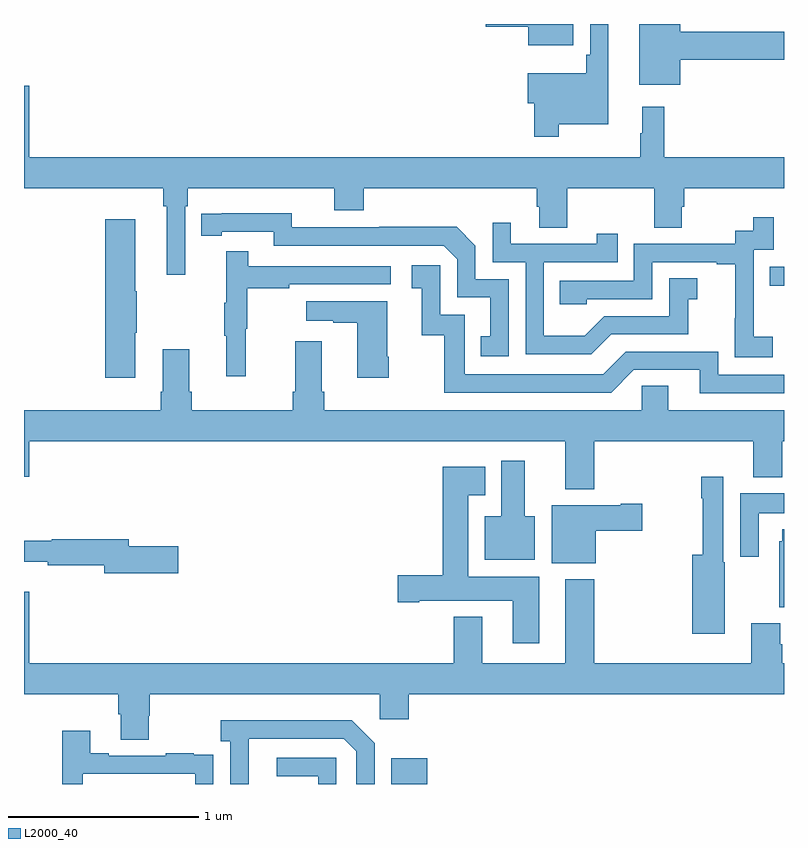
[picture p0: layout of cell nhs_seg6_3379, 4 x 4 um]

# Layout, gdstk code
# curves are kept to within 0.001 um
import gdstk
lib = gdstk.Library(unit=1e-6, precision=1e-09)
def R(c, l, rs):  # rectangles x0, y0, x1, y1
    for r in rs: c.add(gdstk.rectangle(r[:2], r[2:], *l))
def P(c, l, *ps):  # polygons
    for p in ps: c.add(gdstk.Polygon(p, *l))
L2000_40 = (2000, 40)

nhs_seg6_3379 = lib.new_cell('nhs_seg6_3379')
R(nhs_seg6_3379, L2000_40, [(310.934,977.5,311.122,977.635), (312.925,980.122,313,980.223)])
P(nhs_seg6_3379, L2000_40, [(311.815,980.972),(312.076,980.972),(312.076,981.5),(311.979,981.5),(311.979,981.337),(311.959,981.337),(311.959,981.241),(311.652,981.241),(311.652,981.083),(311.686,981.083),(311.686,980.907),(311.815,980.907)],
  [(311.89,981.5),(311.43,981.5),(311.43,981.485),(311.654,981.485),(311.654,981.389),(311.89,981.389)],
  [(312.454,981.311),(313,981.311),(313,981.458),(312.454,981.458),(312.454,981.5),(312.239,981.5),(312.239,981.179),(312.454,981.179)],
  [(309.849,980.54),(309.863,980.54),(309.863,980.636),(310.634,980.636),(310.634,980.519),(310.787,980.519),(310.787,980.636),(311.699,980.636),(311.699,980.538),(311.711,980.538),(311.711,980.428),(311.859,980.428),(311.859,980.636),(312.316,980.636),(312.316,980.428),(312.463,980.428),(312.463,980.538),(312.476,980.538),(312.476,980.636),(313,980.636),(313,980.8),(312.371,980.8),(312.371,981.064),(312.254,981.064),(312.254,980.924),(312.243,980.924),(312.243,980.8),(309.028,980.8),(309.028,981.175),(309,981.175),(309,980.636),(309.733,980.636),(309.733,980.54),(309.752,980.54),(309.752,980.181),(309.849,980.181)],
  [(311.55,980.157),(311.376,980.157),(311.376,980.334),(311.278,980.432),(310.87,980.432),(310.87,980.43),(310.41,980.43),(310.41,980.503),(309.934,980.502),(309.934,980.386),(310.042,980.386),(310.042,980.406),(310.314,980.406),(310.314,980.334),(311.208,980.334),(311.28,980.262),(311.28,980.061),(311.453,980.061),(311.453,979.857),(311.404,979.857),(311.404,979.752),(311.55,979.752)],
  [(312.94,979.855),(312.842,979.855),(312.842,980.084),(312.84,980.084),(312.84,980.313),(312.945,980.313),(312.945,980.482),(312.837,980.482),(312.837,980.412),(312.744,980.412),(312.744,980.343),(312.21,980.343),(312.21,980.148),(311.821,980.148),(311.821,980.025),(311.961,980.025),(311.961,980.052),(312.306,980.052),(312.306,980.247),(312.647,980.247),(312.647,980.235),(312.743,980.235),(312.743,979.951),(312.742,979.951),(312.742,979.745),(312.94,979.745)],
  [(309.586,979.876),(309.594,979.876),(309.594,980.093),(309.586,980.093),(309.586,980.473),(309.428,980.473),(309.428,979.638),(309.586,979.638)],
  [(312.091,979.866),(312.495,979.866),(312.495,980.051),(312.544,980.051),(312.544,980.161),(312.396,980.161),(312.396,979.962),(312.054,979.962),(311.95,979.858),(311.736,979.858),(311.736,980.247),(312.125,980.247),(312.125,980.395),(312.014,980.395),(312.014,980.343),(311.563,980.343),(311.563,980.455),(311.466,980.455),(311.466,980.247),(311.64,980.247),(311.64,979.761),(311.986,979.761)],
  [(310.166,979.896),(310.174,979.896),(310.174,980.11),(310.397,980.11),(310.397,980.13),(310.93,980.13),(310.93,980.226),(310.181,980.226),(310.181,980.305),(310.064,980.305),(310.064,980.033),(310.053,980.033),(310.053,979.859),(310.064,979.859),(310.064,979.647),(310.166,979.647)],
  [(313,979.653),(312.654,979.653),(312.654,979.776),(312.168,979.776),(312.048,979.656),(311.319,979.656),(311.319,979.971),(311.19,979.971),(311.19,980.23),(311.04,980.23),(311.04,980.109),(311.093,980.109),(311.093,979.863),(311.211,979.863),(311.211,979.56),(312.09,979.56),(312.21,979.68),(312.557,979.68),(312.557,979.557),(313,979.557)],
  [(310.92,979.75),(310.912,979.75),(310.912,980.041),(310.485,980.041),(310.485,979.937),(310.628,979.937),(310.628,979.927),(310.754,979.927),(310.754,979.638),(310.92,979.638)],
  [(312.002,979.304),(312.839,979.304),(312.839,979.115),(312.992,979.115),(312.992,979.304),(313,979.304),(313,979.468),(312.391,979.468),(312.391,979.595),(312.252,979.595),(312.252,979.468),(310.58,979.468),(310.58,979.564),(310.567,979.564),(310.567,979.831),(310.427,979.831),(310.427,979.564),(310.415,979.564),(310.415,979.468),(309.884,979.468),(309.884,979.564),(309.871,979.564),(309.871,979.789),(309.731,979.789),(309.731,979.564),(309.719,979.564),(309.719,979.468),(309,979.468),(309,979.116),(309.028,979.116),(309.028,979.304),(311.849,979.304),(311.849,979.052),(312.002,979.052)],
  [(311.689,978.91),(311.635,978.91),(311.635,979.201),(311.513,979.201),(311.513,978.91),(311.426,978.91),(311.426,978.68),(311.689,978.68)],
  [(311.713,978.592),(311.338,978.592),(311.338,979.019),(311.428,979.019),(311.428,979.171),(311.204,979.171),(311.204,978.599),(310.968,978.599),(310.968,978.457),(311.08,978.457),(311.08,978.464),(311.573,978.464),(311.573,978.24),(311.713,978.24)],
  [(312.688,978.666),(312.681,978.666),(312.681,979.117),(312.565,979.117),(312.565,979.004),(312.573,979.004),(312.573,978.706),(312.518,978.706),(312.518,978.29),(312.688,978.29)],
  [(312.867,978.926),(313,978.926),(313,979.03),(312.771,979.03),(312.771,978.696),(312.867,978.696)],
  [(312.01,978.833),(312.253,978.833),(312.253,978.975),(312.14,978.975),(312.14,978.967),(311.777,978.967),(311.777,978.662),(312.01,978.662)],
  [(313,978.841),(312.992,978.841),(312.992,978.777),(312.974,978.777),(312.974,978.43),(313,978.43)],
  [(309.811,978.752),(309.55,978.752),(309.55,978.788),(309.146,978.788),(309.146,978.781),(309,978.781),(309,978.671),(309.124,978.671),(309.124,978.652),(309.422,978.652),(309.422,978.61),(309.811,978.61)],
  [(309.657,977.859),(309.662,977.859),(309.662,977.972),(310.872,977.972),(310.872,977.841),(311.024,977.841),(311.024,977.972),(313,977.972),(313,978.136),(312.992,978.136),(312.992,978.236),(312.979,978.236),(312.979,978.345),(312.827,978.345),(312.827,978.136),(312.002,978.136),(312.002,978.577),(311.849,978.577),(311.849,978.136),(311.413,978.136),(311.413,978.379),(311.261,978.379),(311.261,978.136),(309.028,978.136),(309.028,978.511),(309,978.511),(309,977.972),(309.497,977.972),(309.497,977.866),(309.509,977.866),(309.509,977.734),(309.657,977.734)],
  [(310.182,977.539),(310.183,977.739),(310.683,977.739),(310.749,977.673),(310.749,977.5),(310.845,977.5),(310.845,977.715),(310.724,977.836),(310.035,977.836),(310.035,977.726),(310.086,977.726),(310.086,977.5),(310.182,977.5)],
  [(309.309,977.553),(309.9,977.553),(309.9,977.5),(309.996,977.5),(309.996,977.546),(309.995,977.546),(309.995,977.655),(309.893,977.655),(309.893,977.662),(309.745,977.662),(309.745,977.649),(309.445,977.649),(309.445,977.662),(309.349,977.662),(309.349,977.779),(309.201,977.779),(309.201,977.5),(309.309,977.5)],
  [(310.644,977.637),(310.329,977.637),(310.329,977.541),(310.548,977.541),(310.548,977.5),(310.644,977.5)])

lib.write_gds('nhs_seg6_3379.gds')
